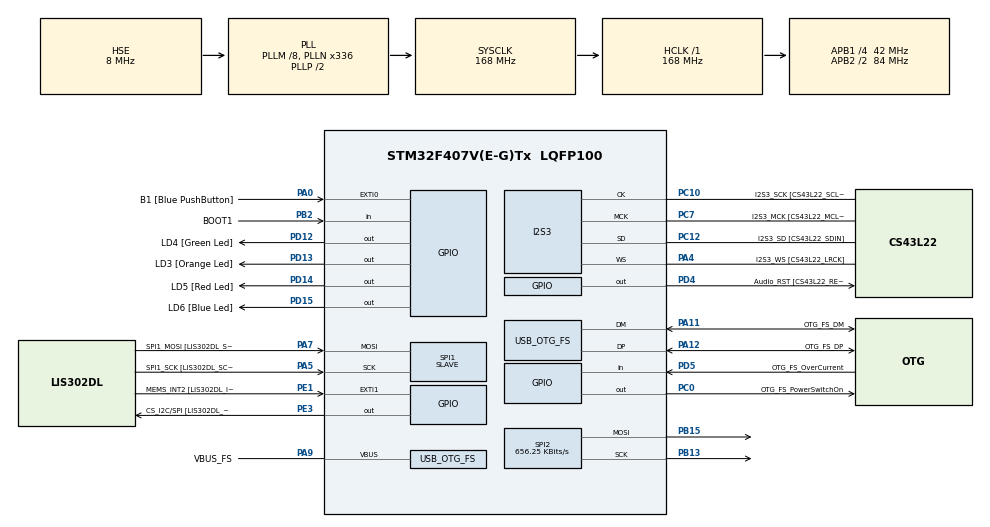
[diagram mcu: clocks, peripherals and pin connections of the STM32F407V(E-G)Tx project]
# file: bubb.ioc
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Dma.Request0=SPI1_RX
Dma.SPI1_RX.0.Direction=DMA_PERIPH_TO_MEMORY
Dma.SPI1_RX.0.FIFOMode=DMA_FIFOMODE_DISABLE
Dma.SPI1_RX.0.Instance=DMA2_Stream0
Dma.SPI1_RX.0.MemDataAlignment=DMA_MDATAALIGN_BYTE
Dma.SPI1_RX.0.MemInc=DMA_MINC_ENABLE
Dma.SPI1_RX.0.Mode=DMA_NORMAL
Dma.SPI1_RX.0.PeriphDataAlignment=DMA_PDATAALIGN_BYTE
Dma.SPI1_RX.0.PeriphInc=DMA_PINC_DISABLE
Dma.SPI1_RX.0.Priority=DMA_PRIORITY_HIGH
FREERTOS.BinarySemaphores01=mySemaphore,Dynamic,NULL;printsem,Dynamic,NULL
FREERTOS.Tasks01=defaultTask,24,128,StartDefaultTask,Default,NULL,Dynamic,NULL,NULL;myTask02,8,128,StartTask02,Default,NULL,Dynamic,NULL,NULL
FREERTOS.configUSE_NEWLIB_REENTRANT=1
I2S3.AudioFreq-Half_Duplex_Master=I2S_AUDIOFREQ_96K
I2S3.ErrorAudioFreq=-2.34 %
I2S3.ErrorAudioFreq-Half_Duplex_Master=0.8 %
I2S3.FullDuplexMode=I2S_FULLDUPLEXMODE_DISABLE
I2S3.Instance=SPI$Index
I2S3.RealAudioFreq=93.75 KHz
I2S3.RealAudioFreq-Half_Duplex_Master=96.774 KHz
I2S3.VirtualMode=I2S_MODE_MASTER
Mcu.Family=STM32F4
Mcu.Name=STM32F407V(E-G)Tx
Mcu.Package=LQFP100
NVIC.DMA2_Stream0_IRQn=true\:5\:0\:false\:false\:true\:true\:false\:true\:true
NVIC.OTG_FS_IRQn=true\:5\:0\:false\:false\:true\:true\:true\:true\:true
NVIC.PriorityGroup=NVIC_PRIORITYGROUP_4
NVIC.TIM1_UP_TIM10_IRQn=true\:15\:0\:false\:false\:true\:false\:false\:true\:true
NVIC.TimeBase=TIM1_UP_TIM10_IRQn
NVIC.TimeBaseIP=TIM1
PA0-WKUP.GPIO_Label=B1 [Blue PushButton]
PA0-WKUP.GPIO_ModeDefaultEXTI=GPIO_MODE_EVT_RISING
PA0-WKUP.GPIO_PuPd=GPIO_NOPULL
PA0-WKUP.Signal=GPXTI0
PA10.GPIO_Label=OTG_FS_ID
PA10.GPIO_Mode=GPIO_MODE_AF_PP
PA10.GPIO_PuPd=GPIO_NOPULL
PA10.GPIO_Speed=GPIO_SPEED_FREQ_LOW
PA10.Signal=USB_OTG_FS_ID
PA11.GPIO_Label=OTG_FS_DM
PA11.GPIO_Mode=GPIO_MODE_AF_PP
PA11.GPIO_PuPd=GPIO_NOPULL
PA11.GPIO_Speed=GPIO_SPEED_FREQ_LOW
PA11.Mode=Host_Only
PA11.Signal=USB_OTG_FS_DM
PA12.GPIO_Label=OTG_FS_DP
PA12.GPIO_Mode=GPIO_MODE_AF_PP
PA12.GPIO_PuPd=GPIO_NOPULL
PA12.GPIO_Speed=GPIO_SPEED_FREQ_LOW
PA12.Mode=Host_Only
PA12.Signal=USB_OTG_FS_DP
PA13.GPIO_Label=SWDIO
PA13.Mode=Serial_Wire
PA13.Signal=SYS_JTMS-SWDIO
PA14.GPIO_Label=SWCLK
PA14.Mode=Serial_Wire
PA14.Signal=SYS_JTCK-SWCLK
PA4.GPIO_Label=I2S3_WS [CS43L22_LRCK]
PA4.GPIO_Mode=GPIO_MODE_AF_PP
PA4.GPIO_PuPd=GPIO_NOPULL
PA4.GPIO_Speed=GPIO_SPEED_FREQ_LOW
PA4.Mode=Half_Duplex_Master
PA4.Signal=I2S3_WS
PA5.GPIO_Label=SPI1_SCK [LIS302DL_SCL/SPC]
PA5.GPIO_Mode=GPIO_MODE_AF_PP
PA5.GPIO_PuPd=GPIO_NOPULL
PA5.GPIO_Speed=GPIO_SPEED_FREQ_LOW
PA5.Mode=RX_Only_Simplex_Unidirect_Slave
PA5.Signal=SPI1_SCK
PA6.GPIO_Label=SPI1_MISO [LIS302DL_SDO]
PA6.GPIO_Mode=GPIO_MODE_AF_PP
PA6.GPIO_PuPd=GPIO_NOPULL
PA6.GPIO_Speed=GPIO_SPEED_FREQ_LOW
PA6.Signal=SPI1_MISO
PA7.GPIO_Label=SPI1_MOSI [LIS302DL_SDA/SDI/SDO]
PA7.GPIO_Mode=GPIO_MODE_AF_PP
PA7.GPIO_PuPd=GPIO_NOPULL
PA7.GPIO_Speed=GPIO_SPEED_FREQ_LOW
PA7.Mode=RX_Only_Simplex_Unidirect_Slave
PA7.Signal=SPI1_MOSI
PA9.GPIO_Label=VBUS_FS
PA9.GPIO_Mode=GPIO_MODE_INPUT
PA9.GPIO_PuPd=GPIO_NOPULL
PA9.Mode=Activate_VBUS
PA9.Signal=USB_OTG_FS_VBUS
PB10.GPIO_Label=CLK_IN [MP45DT02_CLK]
PB10.GPIO_Mode=GPIO_MODE_AF_PP
PB10.GPIO_PuPd=GPIO_NOPULL
PB10.GPIO_Speed=GPIO_SPEED_FREQ_LOW
PB10.Signal=I2S2_CK
PB13.Mode=TX_Only_Simplex_Unidirect_Master
PB13.Signal=SPI2_SCK
PB15.Mode=TX_Only_Simplex_Unidirect_Master
PB15.Signal=SPI2_MOSI
PB2.GPIO_Label=BOOT1
PB2.GPIO_Mode=GPIO_MODE_INPUT
PB2.GPIO_PuPd=GPIO_NOPULL
PB2.Signal=GPIO_Input
PB3.GPIO_Label=SWO
PB3.Signal=SYS_JTDO-SWO
PB6.GPIO_Label=Audio_SCL [CS43L22_SCL]
PB6.GPIO_Mode=GPIO_MODE_AF_OD
PB6.GPIO_Pu=GPIO_PULLUP
PB6.GPIO_PuPd=GPIO_NOPULL
PB6.GPIO_Speed=GPIO_SPEED_FREQ_LOW
PB6.Signal=I2C1_SCL
PB9.GPIO_Label=Audio_SDA [CS43L22_SDA]
PB9.GPIO_Mode=GPIO_MODE_AF_OD
PB9.GPIO_Pu=GPIO_PULLUP
PB9.GPIO_PuPd=GPIO_NOPULL
PB9.GPIO_Speed=GPIO_SPEED_FREQ_LOW
PB9.Signal=I2C1_SDA
PC0.GPIO_Label=OTG_FS_PowerSwitchOn
PC0.GPIO_PuPd=GPIO_NOPULL
PC0.GPIO_Speed=GPIO_SPEED_FREQ_LOW
PC0.PinState=GPIO_PIN_SET
PC0.Signal=GPIO_Output
PC10.GPIO_Label=I2S3_SCK [CS43L22_SCLK]
PC10.GPIO_Mode=GPIO_MODE_AF_PP
PC10.GPIO_PuPd=GPIO_NOPULL
PC10.GPIO_Speed=GPIO_SPEED_FREQ_LOW
PC10.Mode=Half_Duplex_Master
PC10.Signal=I2S3_CK
PC12.GPIO_Label=I2S3_SD [CS43L22_SDIN]
PC12.GPIO_Mode=GPIO_MODE_AF_PP
PC12.GPIO_PuPd=GPIO_NOPULL
PC12.GPIO_Speed=GPIO_SPEED_FREQ_LOW
PC12.Mode=Half_Duplex_Master
PC12.Signal=I2S3_SD
PC14-OSC32_IN.GPIO_Label=PC14-OSC32_IN
PC14-OSC32_IN.Mode=LSE-External-Oscillator
PC14-OSC32_IN.Signal=RCC_OSC32_IN
PC15-OSC32_OUT.GPIO_Label=PC15-OSC32_OUT
PC15-OSC32_OUT.Mode=LSE-External-Oscillator
PC15-OSC32_OUT.Signal=RCC_OSC32_OUT
PC3.GPIO_Label=PDM_OUT [MP45DT02_DOUT]
PC3.GPIO_Mode=GPIO_MODE_AF_PP
PC3.GPIO_PuPd=GPIO_NOPULL
PC3.GPIO_Speed=GPIO_SPEED_FREQ_LOW
PC3.Signal=I2S2_SD
PC7.GPIO_Label=I2S3_MCK [CS43L22_MCLK]
PC7.GPIO_Mode=GPIO_MODE_AF_PP
PC7.GPIO_PuPd=GPIO_NOPULL
PC7.GPIO_Speed=GPIO_SPEED_FREQ_LOW
PC7.Mode=Master_Clock_Activated
PC7.Signal=I2S3_MCK
PD12.GPIO_Label=LD4 [Green Led]
PD12.GPIO_PuPd=GPIO_NOPULL
PD12.GPIO_Speed=GPIO_SPEED_FREQ_LOW
PD12.Signal=GPIO_Output
PD13.GPIO_Label=LD3 [Orange Led]
PD13.GPIO_PuPd=GPIO_NOPULL
PD13.GPIO_Speed=GPIO_SPEED_FREQ_LOW
PD13.Signal=GPIO_Output
PD14.GPIO_Label=LD5 [Red Led]
PD14.GPIO_PuPd=GPIO_NOPULL
PD14.GPIO_Speed=GPIO_SPEED_FREQ_LOW
PD14.Signal=GPIO_Output
PD15.GPIO_Label=LD6 [Blue Led]
PD15.GPIO_PuPd=GPIO_NOPULL
PD15.GPIO_Speed=GPIO_SPEED_FREQ_LOW
PD15.Signal=GPIO_Output
PD4.GPIO_Label=Audio_RST [CS43L22_RESET]
PD4.GPIO_PuPd=GPIO_NOPULL
PD4.GPIO_Speed=GPIO_SPEED_FREQ_LOW
PD4.Signal=GPIO_Output
PD5.GPIO_Label=OTG_FS_OverCurrent
PD5.GPIO_Mode=GPIO_MODE_INPUT
PD5.GPIO_PuPd=GPIO_NOPULL
PD5.Signal=GPIO_Input
PE1.GPIO_Label=MEMS_INT2 [LIS302DL_INT2]
PE1.GPIO_ModeDefaultEXTI=GPIO_MODE_EVT_RISING
PE1.GPIO_PuPd=GPIO_NOPULL
PE1.Signal=GPXTI1
PE3.GPIO_Label=CS_I2C/SPI [LIS302DL_CS_I2C/SPI]
PE3.GPIO_PuPd=GPIO_NOPULL
PE3.GPIO_Speed=GPIO_SPEED_FREQ_LOW
PE3.Signal=GPIO_Output
PH0-OSC_IN.GPIO_Label=PH0-OSC_IN
PH0-OSC_IN.Mode=HSE-External-Oscillator
PH0-OSC_IN.Signal=RCC_OSC_IN
PH1-OSC_OUT.GPIO_Label=PH1-OSC_OUT
PH1-OSC_OUT.Mode=HSE-External-Oscillator
PH1-OSC_OUT.Signal=RCC_OSC_OUT
ProjectManager.HeapSize=0x200
ProjectManager.StackSize=0x400
ProjectManager.TargetToolchain=STM32CubeIDE
RCC.48MHZClocksFreq_Value=48000000
RCC.AHBFreq_Value=168000000
RCC.APB1CLKDivider=RCC_HCLK_DIV4
RCC.APB1Freq_Value=42000000
RCC.APB1TimFreq_Value=84000000
RCC.APB2CLKDivider=RCC_HCLK_DIV2
RCC.APB2Freq_Value=84000000
RCC.APB2TimFreq_Value=168000000
RCC.CortexFreq_Value=168000000
RCC.HCLKFreq_Value=168000000
RCC.HSE_VALUE=8000000
RCC.HSI_VALUE=16000000
RCC.PLLM=8
RCC.PLLN=336
RCC.PLLQ=7
RCC.SYSCLKFreq_VALUE=168000000
RCC.SYSCLKSource=RCC_SYSCLKSOURCE_PLLCLK
RCC.VCOOutputFreq_Value=336000000
SPI1.Direction=SPI_DIRECTION_2LINES_RXONLY
SPI1.Mode=SPI_MODE_SLAVE
SPI1.VirtualType=VM_SLAVE
SPI2.BaudRatePrescaler=SPI_BAUDRATEPRESCALER_64
SPI2.CalculateBaudRate=656.25 KBits/s
SPI2.Direction=SPI_DIRECTION_2LINES
SPI2.Mode=SPI_MODE_MASTER
SPI2.VirtualType=VM_MASTER
USB_HOST.BSP.number=1
USB_HOST.USBH_HandleTypeDef-CDC_FS=hUsbHostFS
USB_HOST.VirtualModeFS=Cdc
USB_HOST0.BSP.STBoard=false
USB_HOST0.BSP.api=Unknown
USB_HOST0.BSP.instance=PC0
USB_HOST0.BSP.ip=GPIO
USB_HOST0.BSP.mode=Output
USB_HOST0.BSP.name=Drive_VBUS_FS
USB_HOST0.BSP.solution=PC0
USB_OTG_FS.VirtualMode=Host_Only
USB_OTG_FS.phy_itface=HCD_PHY_EMBEDDED
VP_FREERTOS_VS_CMSIS_V2.Mode=CMSIS_V2
VP_SYS_VS_tim1.Mode=TIM1
VP_USB_HOST_VS_USB_HOST_CDC_FS.Mode=CDC_FS
board=STM32F407G-DISC1

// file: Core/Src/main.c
/* USER CODE BEGIN Header */
/**
  ******************************************************************************
  * @file           : main.c
  * @brief          : Main program body
  ******************************************************************************
  * @attention
  *
  * Copyright (c) 2022 STMicroelectronics.
  * All rights reserved.
  *
  * This software is licensed under terms that can be found in the LICENSE file
  * in the root directory of this software component.
  * If no LICENSE file comes with this software, it is provided AS-IS.
  *
  ******************************************************************************
  */
/* USER CODE END Header */
#include "main.h"
#include "cmsis_os.h"
#include "usb_host.h"

/* USER CODE BEGIN Includes */
#include <stdio.h>
/* USER CODE END Includes */

I2S_HandleTypeDef hi2s3;

SPI_HandleTypeDef hspi1;
SPI_HandleTypeDef hspi2;
DMA_HandleTypeDef hdma_spi1_rx;

/* Definitions for defaultTask */
osThreadId_t defaultTaskHandle;
const osThreadAttr_t defaultTask_attributes = {
  .name = "defaultTask",
  .stack_size = 128 * 4,
  .priority = (osPriority_t) osPriorityNormal,
};
/* Definitions for myTask02 */
osThreadId_t myTask02Handle;
const osThreadAttr_t myTask02_attributes = {
  .name = "myTask02",
  .stack_size = 128 * 4,
  .priority = (osPriority_t) osPriorityLow,
};
/* Definitions for mySemaphore */
osSemaphoreId_t mySemaphoreHandle;
const osSemaphoreAttr_t mySemaphore_attributes = {
  .name = "mySemaphore"
};
/* Definitions for printsem */
osSemaphoreId_t printsemHandle;
const osSemaphoreAttr_t printsem_attributes = {
  .name = "printsem"
};
/* USER CODE BEGIN PV */
extern int initialise_monitor_handles();
/* USER CODE END PV */

void SystemClock_Config(void);
static void MX_GPIO_Init(void);
static void MX_DMA_Init(void);
static void MX_I2S3_Init(void);
static void MX_SPI1_Init(void);
static void MX_SPI2_Init(void);
void StartDefaultTask(void *argument);
void StartTask02(void *argument);

/* USER CODE BEGIN 0 */
void HAL_SPI_RxCpltCallback(SPI_HandleTypeDef *hspi) {
	printf("got a SPI callback\n");
	osSemaphoreRelease(mySemaphoreHandle);
}
/* USER CODE END 0 */

int main(void)
{

  /* MCU Configuration--------------------------------------------------------*/

  /* Reset of all peripherals, Initializes the Flash interface and the Systick. */
  HAL_Init();

  /* Configure the system clock */
  SystemClock_Config();

  /* Initialize all configured peripherals */
  MX_GPIO_Init();
  MX_DMA_Init();
  MX_I2S3_Init();
  MX_SPI1_Init();
  MX_SPI2_Init();
  /* USER CODE BEGIN 2 */
  initialise_monitor_handles();
  /* USER CODE END 2 */

  /* Init scheduler */
  osKernelInitialize();

  /* Create the semaphores(s) */
  /* creation of mySemaphore */
  mySemaphoreHandle = osSemaphoreNew(1, 1, &mySemaphore_attributes);

  /* creation of printsem */
  printsemHandle = osSemaphoreNew(1, 1, &printsem_attributes);

  /* Create the thread(s) */
  /* creation of defaultTask */
  defaultTaskHandle = osThreadNew(StartDefaultTask, NULL, &defaultTask_attributes);

  /* creation of myTask02 */
  myTask02Handle = osThreadNew(StartTask02, NULL, &myTask02_attributes);

  /* Start scheduler */
  osKernelStart();

  /* We should never get here as control is now taken by the scheduler */
  /* Infinite loop */
  while (1)
  {

  }
}

void SystemClock_Config(void)
{
  RCC_OscInitTypeDef RCC_OscInitStruct = {0};
  RCC_ClkInitTypeDef RCC_ClkInitStruct = {0};

  /** Configure the main internal regulator output voltage
  */
  __HAL_RCC_PWR_CLK_ENABLE();
  __HAL_PWR_VOLTAGESCALING_CONFIG(PWR_REGULATOR_VOLTAGE_SCALE1);

  /** Initializes the RCC Oscillators according to the specified parameters
  * in the RCC_OscInitTypeDef structure.
  */
  RCC_OscInitStruct.OscillatorType = RCC_OSCILLATORTYPE_HSE;
  RCC_OscInitStruct.HSEState = RCC_HSE_ON;
  RCC_OscInitStruct.PLL.PLLState = RCC_PLL_ON;
  RCC_OscInitStruct.PLL.PLLSource = RCC_PLLSOURCE_HSE;
  RCC_OscInitStruct.PLL.PLLM = 8;
  RCC_OscInitStruct.PLL.PLLN = 336;
  RCC_OscInitStruct.PLL.PLLP = RCC_PLLP_DIV2;
  RCC_OscInitStruct.PLL.PLLQ = 7;
  if (HAL_RCC_OscConfig(&RCC_OscInitStruct) != HAL_OK)
  {
    Error_Handler();
  }

  /** Initializes the CPU, AHB and APB buses clocks
  */
  RCC_ClkInitStruct.ClockType = RCC_CLOCKTYPE_HCLK|RCC_CLOCKTYPE_SYSCLK
                              |RCC_CLOCKTYPE_PCLK1|RCC_CLOCKTYPE_PCLK2;
  RCC_ClkInitStruct.SYSCLKSource = RCC_SYSCLKSOURCE_PLLCLK;
  RCC_ClkInitStruct.AHBCLKDivider = RCC_SYSCLK_DIV1;
  RCC_ClkInitStruct.APB1CLKDivider = RCC_HCLK_DIV4;
  RCC_ClkInitStruct.APB2CLKDivider = RCC_HCLK_DIV2;

  if (HAL_RCC_ClockConfig(&RCC_ClkInitStruct, FLASH_LATENCY_5) != HAL_OK)
  {
    Error_Handler();
  }
}

static void MX_I2S3_Init(void)
{

  hi2s3.Instance = SPI3;
  hi2s3.Init.Mode = I2S_MODE_MASTER_TX;
  hi2s3.Init.Standard = I2S_STANDARD_PHILIPS;
  hi2s3.Init.DataFormat = I2S_DATAFORMAT_16B;
  hi2s3.Init.MCLKOutput = I2S_MCLKOUTPUT_ENABLE;
  hi2s3.Init.AudioFreq = I2S_AUDIOFREQ_96K;
  hi2s3.Init.CPOL = I2S_CPOL_LOW;
  hi2s3.Init.ClockSource = I2S_CLOCK_PLL;
  hi2s3.Init.FullDuplexMode = I2S_FULLDUPLEXMODE_DISABLE;
  if (HAL_I2S_Init(&hi2s3) != HAL_OK)
  {
    Error_Handler();
  }

}

static void MX_SPI1_Init(void)
{

  /* SPI1 parameter configuration*/
  hspi1.Instance = SPI1;
  hspi1.Init.Mode = SPI_MODE_SLAVE;
  hspi1.Init.Direction = SPI_DIRECTION_2LINES_RXONLY;
  hspi1.Init.DataSize = SPI_DATASIZE_8BIT;
  hspi1.Init.CLKPolarity = SPI_POLARITY_LOW;
  hspi1.Init.CLKPhase = SPI_PHASE_1EDGE;
  hspi1.Init.NSS = SPI_NSS_SOFT;
  hspi1.Init.FirstBit = SPI_FIRSTBIT_MSB;
  hspi1.Init.TIMode = SPI_TIMODE_DISABLE;
  hspi1.Init.CRCCalculation = SPI_CRCCALCULATION_DISABLE;
  hspi1.Init.CRCPolynomial = 10;
  if (HAL_SPI_Init(&hspi1) != HAL_OK)
  {
    Error_Handler();
  }

}

static void MX_SPI2_Init(void)
{

  /* SPI2 parameter configuration*/
  hspi2.Instance = SPI2;
  hspi2.Init.Mode = SPI_MODE_MASTER;
  hspi2.Init.Direction = SPI_DIRECTION_2LINES;
  hspi2.Init.DataSize = SPI_DATASIZE_8BIT;
  hspi2.Init.CLKPolarity = SPI_POLARITY_LOW;
  hspi2.Init.CLKPhase = SPI_PHASE_1EDGE;
  hspi2.Init.NSS = SPI_NSS_SOFT;
  hspi2.Init.BaudRatePrescaler = SPI_BAUDRATEPRESCALER_64;
  hspi2.Init.FirstBit = SPI_FIRSTBIT_MSB;
  hspi2.Init.TIMode = SPI_TIMODE_DISABLE;
  hspi2.Init.CRCCalculation = SPI_CRCCALCULATION_DISABLE;
  hspi2.Init.CRCPolynomial = 10;
  if (HAL_SPI_Init(&hspi2) != HAL_OK)
  {
    Error_Handler();
  }

}

static void MX_DMA_Init(void)
{

  /* DMA controller clock enable */
  __HAL_RCC_DMA2_CLK_ENABLE();

  /* DMA interrupt init */
  /* DMA2_Stream0_IRQn interrupt configuration */
  HAL_NVIC_SetPriority(DMA2_Stream0_IRQn, 5, 0);
  HAL_NVIC_EnableIRQ(DMA2_Stream0_IRQn);

}

static void MX_GPIO_Init(void)
{
  GPIO_InitTypeDef GPIO_InitStruct = {0};

  /* GPIO Ports Clock Enable */
  __HAL_RCC_GPIOE_CLK_ENABLE();
  __HAL_RCC_GPIOC_CLK_ENABLE();
  __HAL_RCC_GPIOH_CLK_ENABLE();
  __HAL_RCC_GPIOA_CLK_ENABLE();
  __HAL_RCC_GPIOB_CLK_ENABLE();
  __HAL_RCC_GPIOD_CLK_ENABLE();

  /*Configure GPIO pin Output Level */
  HAL_GPIO_WritePin(CS_I2C_SPI_GPIO_Port, CS_I2C_SPI_Pin, GPIO_PIN_RESET);

  /*Configure GPIO pin Output Level */
  HAL_GPIO_WritePin(OTG_FS_PowerSwitchOn_GPIO_Port, OTG_FS_PowerSwitchOn_Pin, GPIO_PIN_SET);

  /*Configure GPIO pin Output Level */
  HAL_GPIO_WritePin(GPIOD, LD4_Pin|LD3_Pin|LD5_Pin|LD6_Pin
                          |Audio_RST_Pin, GPIO_PIN_RESET);

  /*Configure GPIO pin : CS_I2C_SPI_Pin */
  GPIO_InitStruct.Pin = CS_I2C_SPI_Pin;
  GPIO_InitStruct.Mode = GPIO_MODE_OUTPUT_PP;
  GPIO_InitStruct.Pull = GPIO_NOPULL;
  GPIO_InitStruct.Speed = GPIO_SPEED_FREQ_LOW;
  HAL_GPIO_Init(CS_I2C_SPI_GPIO_Port, &GPIO_InitStruct);

  /*Configure GPIO pin : OTG_FS_PowerSwitchOn_Pin */
  GPIO_InitStruct.Pin = OTG_FS_PowerSwitchOn_Pin;
  GPIO_InitStruct.Mode = GPIO_MODE_OUTPUT_PP;
  GPIO_InitStruct.Pull = GPIO_NOPULL;
  GPIO_InitStruct.Speed = GPIO_SPEED_FREQ_LOW;
  HAL_GPIO_Init(OTG_FS_PowerSwitchOn_GPIO_Port, &GPIO_InitStruct);

  /*Configure GPIO pin : PDM_OUT_Pin */
  GPIO_InitStruct.Pin = PDM_OUT_Pin;
  GPIO_InitStruct.Mode = GPIO_MODE_AF_PP;
  GPIO_InitStruct.Pull = GPIO_NOPULL;
  GPIO_InitStruct.Speed = GPIO_SPEED_FREQ_LOW;
  GPIO_InitStruct.Alternate = GPIO_AF5_SPI2;
  HAL_GPIO_Init(PDM_OUT_GPIO_Port, &GPIO_InitStruct);

  /*Configure GPIO pin : B1_Pin */
  GPIO_InitStruct.Pin = B1_Pin;
  GPIO_InitStruct.Mode = GPIO_MODE_EVT_RISING;
  GPIO_InitStruct.Pull = GPIO_NOPULL;
  HAL_GPIO_Init(B1_GPIO_Port, &GPIO_InitStruct);

  /*Configure GPIO pin : BOOT1_Pin */
  GPIO_InitStruct.Pin = BOOT1_Pin;
  GPIO_InitStruct.Mode = GPIO_MODE_INPUT;
  GPIO_InitStruct.Pull = GPIO_NOPULL;
  HAL_GPIO_Init(BOOT1_GPIO_Port, &GPIO_InitStruct);

  /*Configure GPIO pin : CLK_IN_Pin */
  GPIO_InitStruct.Pin = CLK_IN_Pin;
  GPIO_InitStruct.Mode = GPIO_MODE_AF_PP;
  GPIO_InitStruct.Pull = GPIO_NOPULL;
  GPIO_InitStruct.Speed = GPIO_SPEED_FREQ_LOW;
  GPIO_InitStruct.Alternate = GPIO_AF5_SPI2;
  HAL_GPIO_Init(CLK_IN_GPIO_Port, &GPIO_InitStruct);

  /*Configure GPIO pins : LD4_Pin LD3_Pin LD5_Pin LD6_Pin
                           Audio_RST_Pin */
  GPIO_InitStruct.Pin = LD4_Pin|LD3_Pin|LD5_Pin|LD6_Pin
                          |Audio_RST_Pin;
  GPIO_InitStruct.Mode = GPIO_MODE_OUTPUT_PP;
  GPIO_InitStruct.Pull = GPIO_NOPULL;
  GPIO_InitStruct.Speed = GPIO_SPEED_FREQ_LOW;
  HAL_GPIO_Init(GPIOD, &GPIO_InitStruct);

  /*Configure GPIO pin : OTG_FS_OverCurrent_Pin */
  GPIO_InitStruct.Pin = OTG_FS_OverCurrent_Pin;
  GPIO_InitStruct.Mode = GPIO_MODE_INPUT;
  GPIO_InitStruct.Pull = GPIO_NOPULL;
  HAL_GPIO_Init(OTG_FS_OverCurrent_GPIO_Port, &GPIO_InitStruct);

  /*Configure GPIO pins : Audio_SCL_Pin Audio_SDA_Pin */
  GPIO_InitStruct.Pin = Audio_SCL_Pin|Audio_SDA_Pin;
  GPIO_InitStruct.Mode = GPIO_MODE_AF_OD;
  GPIO_InitStruct.Pull = GPIO_PULLUP;
  GPIO_InitStruct.Speed = GPIO_SPEED_FREQ_LOW;
  GPIO_InitStruct.Alternate = GPIO_AF4_I2C1;
  HAL_GPIO_Init(GPIOB, &GPIO_InitStruct);

  /*Configure GPIO pin : MEMS_INT2_Pin */
  GPIO_InitStruct.Pin = MEMS_INT2_Pin;
  GPIO_InitStruct.Mode = GPIO_MODE_EVT_RISING;
  GPIO_InitStruct.Pull = GPIO_NOPULL;
  HAL_GPIO_Init(MEMS_INT2_GPIO_Port, &GPIO_InitStruct);

}

/* USER CODE BEGIN 4 */
unsigned char rxbuf[16];
unsigned char bub[3];
/* USER CODE END 4 */

void StartDefaultTask(void *argument)
{
  /* init code for USB_HOST */
  MX_USB_HOST_Init();
  /* USER CODE BEGIN 5 */
  osSemaphoreAcquire(mySemaphoreHandle,5000);
  printf("hejhej dumdum\n");
  /* Infinite loop */
  for(;;)
  {
	  int rc;
	  rc=HAL_SPI_Receive_DMA(&hspi1,rxbuf,3);
	  if (rc!=0) {
		  printf("hal spi rec. returned %d\n",rc);
	  }
again:
//		printf("waiting for semaphore\n");
	  rc=osSemaphoreAcquire(mySemaphoreHandle,5000);
	  if (rc!=HAL_OK) goto again;
	  printf("received %d:%d:%d\n",rxbuf[0],rxbuf[1],rxbuf[2]);
  }
  /* USER CODE END 5 */
}

void StartTask02(void *argument)
{
  /* USER CODE BEGIN StartTask02 */
	int i=0;
  /* Infinite loop */
//	printf("task 2 started\n");
  for(;;i++)
  {
	  	  int rc;
	  	  bub[0]=i&0xff;
	  	  bub[1]=(i+1)&0xff;
	  	  bub[2]=(i+2)&0xff;
	//  	  printf("hal spi transmit sending %d:%d:%d, returned %d\n", bub[0], bub[1], bub[2],rc);
          rc=HAL_SPI_Transmit(&hspi2, bub,3,100);
//		printf("hal spi transmit sending %d:%d:%d, returned %d\n", bub[0], bub[1], bub[2],rc);
   		osDelay(1000);
  }
  /* USER CODE END StartTask02 */
}

void HAL_TIM_PeriodElapsedCallback(TIM_HandleTypeDef *htim)
{
  if (htim->Instance == TIM1) {
    HAL_IncTick();
  }
}

void Error_Handler(void)
{
  __disable_irq();
  while (1)
  {
  }
}
